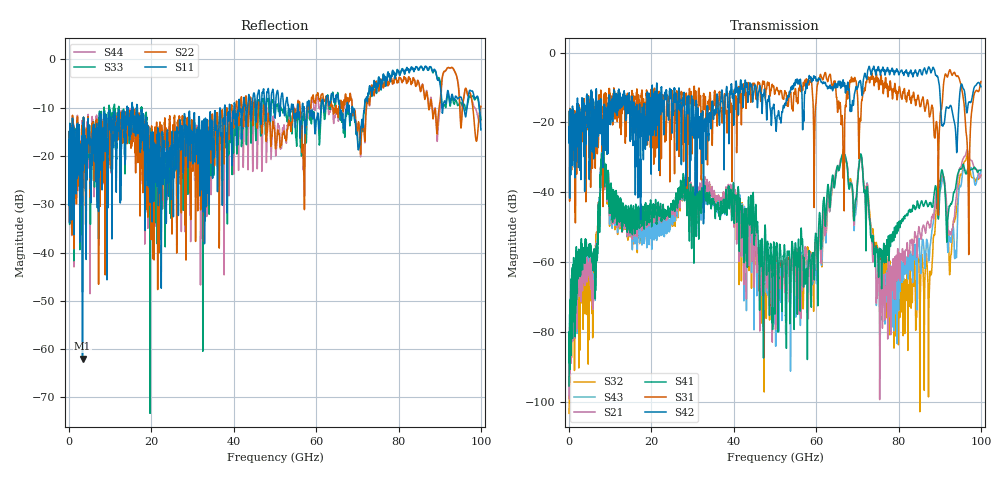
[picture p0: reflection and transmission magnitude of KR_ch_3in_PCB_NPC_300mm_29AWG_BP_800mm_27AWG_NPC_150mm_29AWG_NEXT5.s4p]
# GHz S RI R 45
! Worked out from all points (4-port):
!   4000 points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, 25 MHz to 100 GHz, reference 45 ohm
!   strongest paths, dB at 25 MHz, 25.02 GHz, 50.02 GHz, 75.03 GHz, 100 GHz:
!     S42: -21.2, -20.7, -18.6, -4.1, -9.8
!     S31: -21.3, -11.5, -11.4, -7.8, -8.3
!     S41: -95.5, -44.6, -70.9, -59.3, -33.6
!     S21: -99.2, -45.3, -62.9, -62.0, -35.0
!     S43: -98.0, -48.7, -69.4, -61.8, -34.1
!     S32: -103.3, -47.6, -70.6, -58.0, -35.3
!   lowest |S11| = -62.0 dB at 3.275 GHz (marker M1), VSWR 1.00, Z = 44.9 - j0.0268 ohm
!   |S11| at or under -10 dB: start of sweep to 14.12 GHz; 16.58 GHz to 36.65 GHz (20.07 GHz wide, 75.4 % of centre); 68.84 GHz to 71.74 GHz (2.896 GHz wide, 4.12 % of centre)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
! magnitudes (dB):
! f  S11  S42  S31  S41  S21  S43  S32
! 25 MHz  -16.6  -21.2  -21.3  -95.5  -99.2  -98.0  -103.3
! 3.275 GHz  -62.0  -18.9  -20.8  -62.3  -68.2  -66.1  -68.9
! 8.1 GHz  -15.8  -19.4  -24.0  -30.2  -30.7  -30.1  -30.7
! 49.83 GHz  -9.4  -16.0  -10.9  -56.8  -56.0  -63.3  -64.8
! 70.8 GHz  -14.4  -8.3  -19.6  -29.1  -29.9  -29.0  -29.6
! 75.85 GHz  -5.5  -4.9  -7.4  -62.2  -61.7  -60.4  -60.0
! 100 GHz  -14.6  -9.8  -8.3  -33.6  -35.0  -34.1  -35.3
